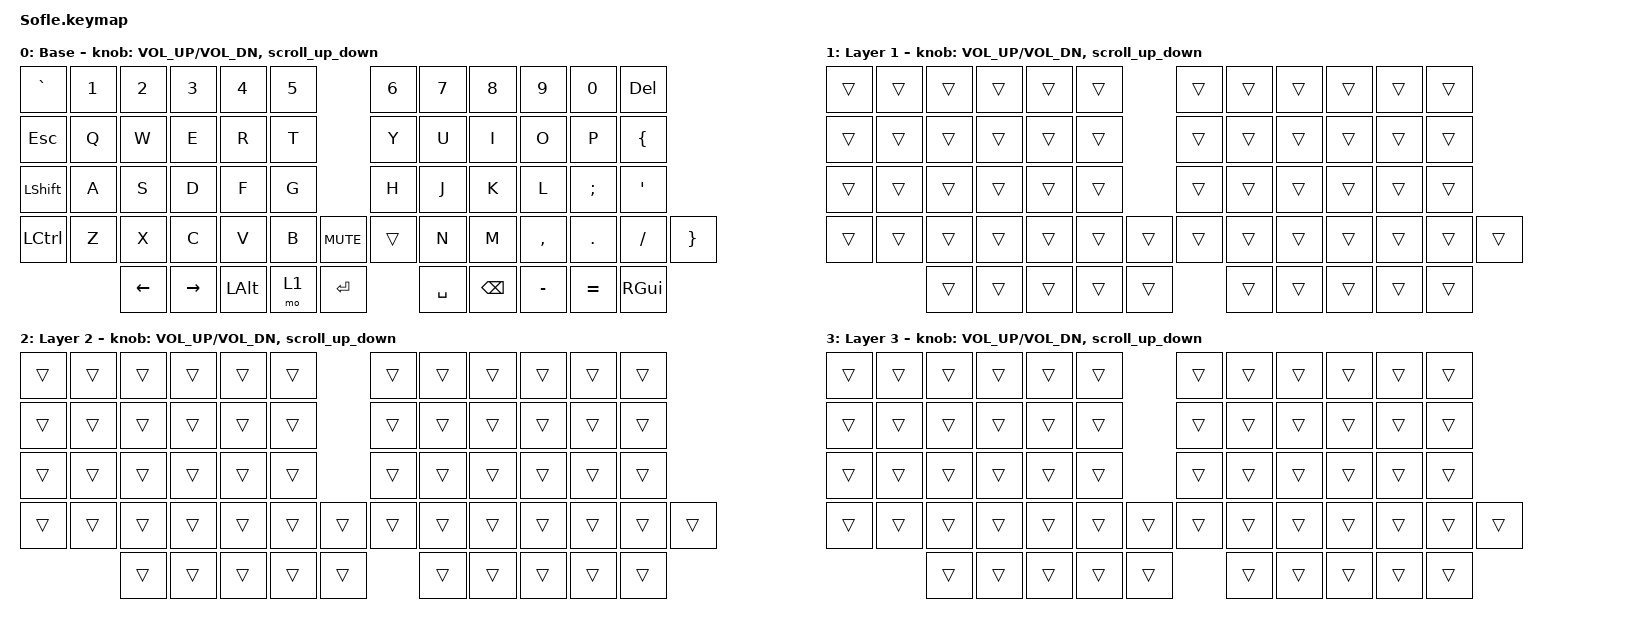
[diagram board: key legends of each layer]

/*
 * PandaKB Sofle RGB MX
 * Custom keymap
 *
 * Layer 0: Base
 * Layer 1: Empty
 * Layer 2: Empty
 * Layer 3: Empty
 */

#include <behaviors.dtsi>
#include <dt-bindings/zmk/keys.h>
#include <dt-bindings/zmk/pointing.h>

/ {
    behaviors {
        scroll_up_down: scroll_up_down {
            compatible = "zmk,behavior-sensor-rotate";
            #sensor-binding-cells = <0>;
            bindings = <&msc SCRL_UP>, <&msc SCRL_DOWN>;
            tap-ms = <20>;
        };
    };

    keymap {
        compatible = "zmk,keymap";

        base_layer {
            display-name = "Base";

            bindings = <
                &kp GRAVE  &kp N1  &kp N2  &kp N3  &kp N4  &kp N5                 &kp N6  &kp N7  &kp N8  &kp N9  &kp N0  &kp DEL
                &kp ESC    &kp Q   &kp W   &kp E   &kp R   &kp T                  &kp Y   &kp U   &kp I   &kp O   &kp P   &kp LBRC
                &kp LSHFT  &kp A   &kp S   &kp D   &kp F   &kp G                  &kp H   &kp J   &kp K   &kp L   &kp SEMI &kp SQT
                &kp LCTRL  &kp Z   &kp X   &kp C   &kp V   &kp B   &kp C_MUTE    &trans  &kp N  &kp M   &kp COMMA &kp DOT &kp FSLH &kp RBRC
                                      &kp LEFT &kp RIGHT &kp LALT &mo 1 &kp RET   &kp SPACE &kp BSPC &kp MINUS &kp EQUAL &kp RGUI
            >;

            // Encoder 1: clockwise = volume up, counter-clockwise = volume down
            // Encoder 2: clockwise = scroll up, counter-clockwise = scroll down
            sensor-bindings = <
                &inc_dec_kp C_VOL_UP C_VOL_DN
                &scroll_up_down
            >;
        };

        layer_1 {
            display-name = "Layer 1";
            bindings = <
                &trans &trans &trans &trans &trans &trans                 &trans &trans &trans &trans &trans &trans
                &trans &trans &trans &trans &trans &trans                 &trans &trans &trans &trans &trans &trans
                &trans &trans &trans &trans &trans &trans                 &trans &trans &trans &trans &trans &trans
                &trans &trans &trans &trans &trans &trans &trans &trans  &trans &trans &trans &trans &trans &trans
                                      &trans &trans &trans &trans &trans  &trans &trans &trans &trans &trans
            >;
            sensor-bindings = <
                &inc_dec_kp C_VOL_UP C_VOL_DN
                &scroll_up_down
            >;
        };

        layer_2 {
            display-name = "Layer 2";
            bindings = <
                &trans &trans &trans &trans &trans &trans                 &trans &trans &trans &trans &trans &trans
                &trans &trans &trans &trans &trans &trans                 &trans &trans &trans &trans &trans &trans
                &trans &trans &trans &trans &trans &trans                 &trans &trans &trans &trans &trans &trans
                &trans &trans &trans &trans &trans &trans &trans &trans  &trans &trans &trans &trans &trans &trans
                                      &trans &trans &trans &trans &trans  &trans &trans &trans &trans &trans
            >;
            sensor-bindings = <
                &inc_dec_kp C_VOL_UP C_VOL_DN
                &scroll_up_down
            >;
        };

        layer_3 {
            display-name = "Layer 3";
            bindings = <
                &trans &trans &trans &trans &trans &trans                 &trans &trans &trans &trans &trans &trans
                &trans &trans &trans &trans &trans &trans                 &trans &trans &trans &trans &trans &trans
                &trans &trans &trans &trans &trans &trans                 &trans &trans &trans &trans &trans &trans
                &trans &trans &trans &trans &trans &trans &trans &trans  &trans &trans &trans &trans &trans &trans
                                      &trans &trans &trans &trans &trans  &trans &trans &trans &trans &trans
            >;
            sensor-bindings = <
                &inc_dec_kp C_VOL_UP C_VOL_DN
                &scroll_up_down
            >;
        };
    };
};
